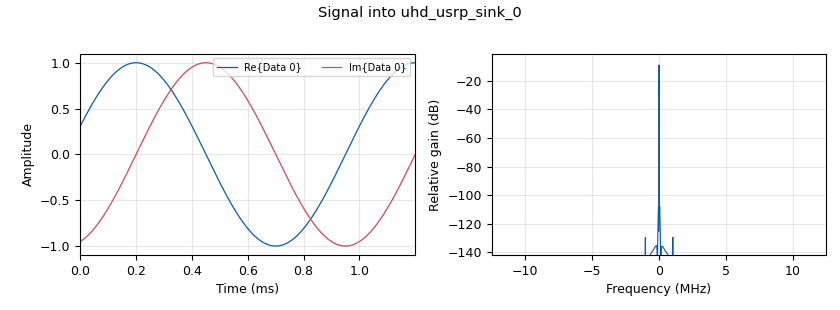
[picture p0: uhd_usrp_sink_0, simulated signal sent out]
options:
  parameters:
    author: juani
    generate_options: qt_gui
    id: untitled
    output_language: python
    title: Not titled yet
  states: {}

blocks:
- name: samp_rate
  id: variable
  parameters:
    value: 25e6
  states: {}
- name: analog_sig_source_x_0
  id: analog_sig_source_x
  parameters:
    amp: '1'
    freq: '1000'
    offset: '0'
    phase: '0'
    samp_rate: samp_rate
    type: complex
    waveform: analog.GR_SIN_WAVE
  states: {}
- name: blocks_file_sink_0
  id: blocks_file_sink
  parameters:
    file: C:\Users\juani\Desktop\VM Share\Windowsgnuradioloopback25e6fs_sinewave.dat
    type: complex
  states: {}
- name: blocks_head_0
  id: blocks_head
  parameters:
    num_items: '250000000'
    type: complex
  states: {}
- name: qtgui_sink_x_0
  id: qtgui_sink_x
  parameters:
    bw: samp_rate
    fc: '0'
    fftsize: '1024'
    type: complex
  states: {}
- name: uhd_usrp_sink_0
  id: uhd_usrp_sink
  parameters:
    ant0: '"TX/RX"'
    center_freq0: '0'
    dev_addr: addr=192.168.10.14
    gain0: '0'
    samp_rate: samp_rate
    sync: none
    type: fc32
  states: {}
- name: uhd_usrp_source_0
  id: uhd_usrp_source
  parameters:
    ant0: '"RX2"'
    center_freq0: '0'
    dev_addr: addr=192.168.10.14
    gain0: '0'
    samp_rate: samp_rate
    sync: none
    type: fc32
  states: {}

connections:
- [analog_sig_source_x_0, '0', uhd_usrp_sink_0, '0']
- [blocks_head_0, '0', blocks_file_sink_0, '0']
- [blocks_head_0, '0', qtgui_sink_x_0, '0']
- [uhd_usrp_source_0, '0', blocks_head_0, '0']

metadata:
  file_format: 1
  grc_version: 3.10.10.0
